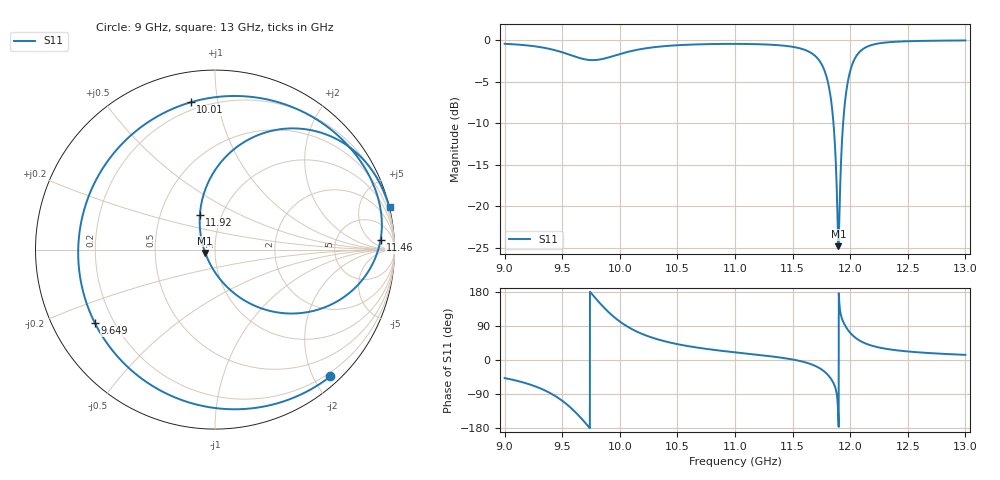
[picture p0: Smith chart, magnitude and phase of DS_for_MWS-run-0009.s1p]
! TOUCHSTONE file generated by CST DESIGN STUDIO
! Date and time: Tue Feb  4 18:15:41 2025
! Project name: C:\Work\MatlabApps\UnitCellOptimizationMatlab\CST\unitcell.cst
! Tree item: Tasks\Sweep1\SPara1\S-Parameters
! Header version: 2024
! Port assignment regex: !\s*Touchstone port\s*([0-9]+)\s*=\s*(CST MWS port|CST DES external port|CST DES block port)\s*(.+)\s* \(\"(.*)\"\)(\s*mode\s*([0-9]+))?.*
! Touchstone port assignment:
! Touchstone port 1 = CST DES external port 1 ("")
# GHz S MA R 50
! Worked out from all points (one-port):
!   4001 points, 9 GHz to 13 GHz, reference 50 ohm
!   lowest |S11| = -24.8 dB at 11.9 GHz (marker M1), VSWR 1.12, Z = 44.8 - j1.75 ohm
!   |S11| at or under -10 dB: 11.86 GHz to 11.94 GHz (83.37 MHz wide, 0.701 % of centre)
!   S11 on the Smith chart (normalised r, x): 9 GHz: 0.14, -2.26; 9.649 GHz: 0.13, -0.28; 10.01 GHz: 0.16, +0.84; 11.46 GHz: 17, +12; 11.92 GHz: 0.79, +0.32; 13 GHz: -0.01, +8.41
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9  0.9552 -47.7
9.268  0.9209 -69.8
9.4  0.8865 -88.1
9.5  0.8488 -107.5
9.649  0.7845 -148.5
9.724  0.7642 -174.1
9.796  0.7628 160.5
9.898  0.7888 127.6
10  0.8282 101.5
10.01  0.832 99.3
10.232  0.8984 64.2
10.5  0.936 41.8
11  0.9537 20.2
11.463  0.9237 3.3
11.5  0.9158 1.4
11.682  0.8221 -13.7
11.793  0.6091 -35.2
11.848  0.3588 -57.0
11.886  0.1092 -95.9
11.898  0.05747 -160.2
11.91  0.1111 135.5
11.924  0.2122 113.4
11.954  0.4206 91.9
12  0.6545 71.9
12.08  0.8512 51.6
12.172  0.9322 39.3
12.5  0.9894 22.5
13  1 13.6
